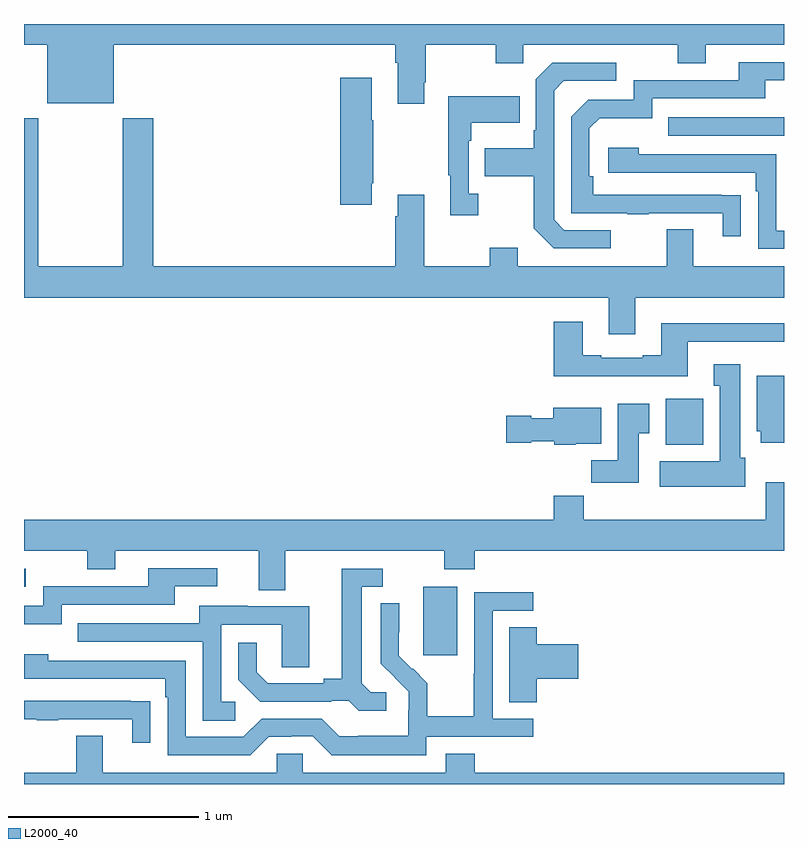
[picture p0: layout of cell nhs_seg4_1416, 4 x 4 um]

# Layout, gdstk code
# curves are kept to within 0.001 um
import gdstk
lib = gdstk.Library(unit=1e-6, precision=1e-09)
def R(c, l, rs):  # rectangles x0, y0, x1, y1
    for r in rs: c.add(gdstk.rectangle(r[:2], r[2:], *l))
def P(c, l, *ps):  # polygons
    for p in ps: c.add(gdstk.Polygon(p, *l))
L2000_40 = (2000, 40)

nhs_seg4_1416 = lib.new_cell('nhs_seg4_1416')
R(nhs_seg4_1416, L2000_40, [(185.102,821.577,185.281,821.938), (183,821.937,183.01,822.033), (186.377,822.686,186.574,822.928), (186.391,824.313,187,824.409)])
P(nhs_seg4_1416, L2000_40, [(185.107,824.593),(185.115,824.593),(185.115,824.792),(185.482,824.792),(185.482,824.693),(185.628,824.693),(185.628,824.792),(186.442,824.792),(186.442,824.693),(186.589,824.693),(186.589,824.792),(187,824.792),(187,824.9),(183,824.9),(183,824.792),(183.122,824.792),(183.122,824.483),(183.472,824.483),(183.472,824.792),(184.955,824.792),(184.955,824.696),(184.967,824.696),(184.967,824.481),(185.107,824.481)],
  [(186.773,824),(185.996,824.001),(185.996,824.098),(185.976,824.098),(185.976,824.352),(186.029,824.405),(186.306,824.405),(186.306,824.508),(186.901,824.508),(186.901,824.604),(187,824.604),(187,824.7),(186.761,824.7),(186.761,824.604),(186.21,824.604),(186.21,824.502),(185.97,824.502),(185.88,824.412),(185.88,823.905),(186.175,823.905),(186.175,823.9),(186.287,823.9),(186.287,823.905),(186.677,823.905),(186.677,823.782),(186.773,823.782)],
  [(186.088,823.815),(185.844,823.815),(185.79,823.869),(185.79,824.55),(185.841,824.601),(186.118,824.601),(186.118,824.697),(185.781,824.697),(185.694,824.61),(185.694,824.341),(185.682,824.341),(185.682,824.245),(185.425,824.245),(185.425,824.098),(185.682,824.098),(185.682,823.825),(185.787,823.719),(186.088,823.719)],
  [(184.831,824.062),(184.839,824.062),(184.839,824.393),(184.831,824.393),(184.831,824.617),(184.664,824.617),(184.664,823.95),(184.831,823.95)],
  [(185.392,824.006),(185.34,824.006),(185.34,824.285),(185.353,824.285),(185.353,824.381),(185.609,824.381),(185.609,824.521),(185.232,824.521),(185.232,824.105),(185.243,824.105),(185.243,823.893),(185.392,823.893)],
  [(186.217,823.46),(187,823.46),(187,823.624),(186.523,823.624),(186.523,823.819),(186.383,823.819),(186.383,823.624),(185.599,823.624),(185.599,823.723),(185.452,823.723),(185.452,823.624),(185.107,823.624),(185.107,824.002),(184.967,824.002),(184.967,823.889),(184.955,823.889),(184.955,823.624),(183.68,823.624),(183.68,824.404),(183.52,824.404),(183.52,823.624),(183.075,823.624),(183.075,824.404),(183,824.404),(183,823.46),(186.077,823.46),(186.077,823.266),(186.217,823.266)],
  [(187,823.812),(186.96,823.812),(186.96,824.214),(186.236,824.214),(186.236,824.248),(186.075,824.248),(186.075,824.118),(186.851,824.118),(186.851,824.021),(186.864,824.021),(186.864,823.716),(187,823.716)],
  [(186.493,823.227),(187,823.227),(187,823.324),(186.353,823.324),(186.353,823.156),(186.257,823.156),(186.257,823.143),(186.037,823.143),(186.037,823.156),(185.941,823.156),(185.941,823.333),(185.789,823.333),(185.789,823.046),(186.493,823.046)],
  [(186.796,822.618),(186.769,822.618),(186.769,823.108),(186.629,823.108),(186.629,822.995),(186.662,822.995),(186.662,822.598),(186.345,822.598),(186.345,822.464),(186.796,822.464)],
  [(187,823.048),(186.857,823.048),(186.857,822.756),(186.878,822.756),(186.878,822.696),(187,822.696)],
  [(186.235,822.745),(186.292,822.745),(186.292,822.901),(186.125,822.901),(186.125,822.604),(185.986,822.604),(185.986,822.486),(186.235,822.486)],
  [(185.904,822.692),(186.037,822.692),(186.037,822.88),(185.786,822.88),(185.786,822.826),(185.67,822.826),(185.67,822.839),(185.538,822.839),(185.538,822.697),(185.67,822.697),(185.67,822.704),(185.79,822.704),(185.79,822.686),(185.904,822.686)],
  [(184.375,822.128),(185.212,822.128),(185.212,822.029),(185.372,822.029),(185.372,822.128),(187,822.128),(187,822.487),(186.905,822.487),(186.905,822.292),(185.945,822.292),(185.945,822.416),(185.789,822.416),(185.789,822.292),(183,822.292),(183,822.128),(183.334,822.128),(183.334,822.029),(183.481,822.029),(183.481,822.128),(184.235,822.128),(184.235,821.92),(184.375,821.92)],
  [(183.198,821.844),(183.793,821.844),(183.793,821.94),(184.018,821.94),(184.018,822.036),(183.653,822.036),(183.653,821.94),(183.102,821.94),(183.102,821.838),(183,821.838),(183,821.741),(183.198,821.741)],
  [(184.906,821.382),(184.824,821.382),(184.777,821.429),(184.777,821.937),(184.888,821.937),(184.888,822.033),(184.673,822.033),(184.673,821.453),(184.577,821.453),(184.577,821.43),(184.282,821.43),(184.225,821.487),(184.225,821.644),(184.128,821.644),(184.128,821.45),(184.244,821.334),(184.616,821.334),(184.616,821.337),(184.71,821.337),(184.762,821.285),(184.906,821.285)],
  [(185.118,821.148),(185.68,821.148),(185.68,821.244),(185.466,821.244),(185.466,821.811),(185.68,821.811),(185.68,821.91),(185.37,821.91),(185.37,821.48),(185.368,821.48),(185.368,821.257),(185.123,821.257),(185.123,821.431),(185.046,821.508),(185.043,821.505),(184.973,821.576),(184.974,821.852),(184.878,821.852),(184.878,821.534),(185.024,821.386),(185.024,821.289),(185.022,821.289),(185.022,821.155),(184.759,821.155),(184.759,821.151),(184.659,821.151),(184.566,821.244),(184.251,821.244),(184.155,821.148),(183.852,821.148),(183.852,821.55),(183.128,821.55),(183.128,821.584),(183,821.584),(183,821.454),(183.743,821.454),(183.743,821.357),(183.756,821.357),(183.756,821.052),(184.191,821.052),(184.287,821.148),(184.406,821.148),(184.406,821.151),(184.521,821.151),(184.621,821.051),(185.118,821.051)],
  [(184.111,821.334),(184.038,821.334),(184.038,821.739),(184.356,821.739),(184.356,821.515),(184.501,821.515),(184.501,821.835),(184.177,821.835),(184.177,821.839),(183.923,821.839),(183.923,821.745),(183.283,821.745),(183.283,821.649),(183.942,821.649),(183.942,821.233),(184.111,821.233)],
  [(185.699,821.453),(185.917,821.453),(185.917,821.636),(185.699,821.636),(185.699,821.726),(185.555,821.726),(185.555,821.329),(185.699,821.329)],
  [(183.665,821.336),(183.563,821.336),(183.563,821.337),(183,821.337),(183,821.241),(183.067,821.241),(183.067,821.236),(183.179,821.236),(183.179,821.241),(183.569,821.241),(183.569,821.118),(183.665,821.118)],
  [(187,820.96),(185.372,820.96),(185.372,821.059),(185.219,821.059),(185.219,820.96),(184.467,820.96),(184.467,821.058),(184.329,821.058),(184.329,820.96),(183.415,820.96),(183.415,821.155),(183.275,821.155),(183.275,820.96),(183,820.96),(183,820.9),(187,820.9)])

lib.write_gds('nhs_seg4_1416.gds')
